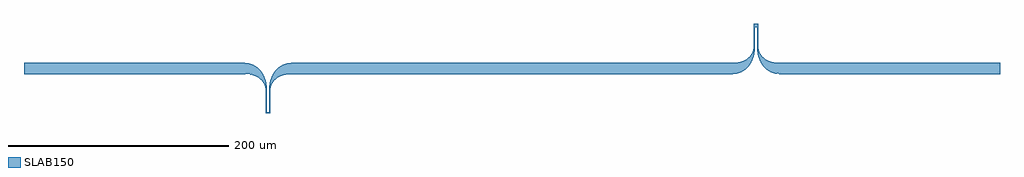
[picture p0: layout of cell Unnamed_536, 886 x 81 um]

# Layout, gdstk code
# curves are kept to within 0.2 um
from math import pi, radians
import gdstk
lib = gdstk.Library(unit=1e-6, precision=1e-09)
def R(c, l, rs):  # rectangles x0, y0, x1, y1
    for r in rs: c.add(gdstk.rectangle(r[:2], r[2:], *l))
def P(c, l, *ps):  # polygons
    for p in ps: c.add(gdstk.Polygon(p, *l))
SLAB150 = (2, 0)

unnamed_541 = lib.new_cell('Unnamed_541')
P(unnamed_541, SLAB150, [(0,-0.5),(0,0.5),(19.5,0.5),(19.5,1.5),(20.5,1.5),(20.5,-0.5)])

unnamed_540 = lib.new_cell('Unnamed_540')
P(unnamed_540, SLAB150, [(19.5,-20),(19.117,-16.823),(18.006,-13.845),(16.277,-11.233),(13.904,-8.953),(11.014,-7.17),(7.794,-5.958),(4.22,-5.251),(0,-5),(0,5),(4.386,4.47),(8.494,2.935),(12.095,0.546),(15.224,-2.714),(17.794,-6.933),(19.548,-11.903),(20.259,-15.837),(20.5,-20)])

unnamed_539 = lib.new_cell('Unnamed_539')
R(unnamed_539, SLAB150, [(0,-5,200,5)])

unnamed_537 = lib.new_cell('Unnamed_537')
unnamed_537.add(gdstk.Reference(unnamed_541, (220,-20), rotation=3*pi/2))
unnamed_537.add(gdstk.Reference(unnamed_540, (200,0)))
unnamed_537.add(gdstk.Reference(unnamed_539, (0,0)))

unnamed_538 = lib.new_cell('Unnamed_538')
unnamed_538.add(gdstk.Reference(unnamed_537, (443,0), rotation=pi, x_reflection=True))
unnamed_538.add(gdstk.Reference(unnamed_537, (0,0)))

rectangle_s2_2_l2_0_cfa_ = lib.new_cell('rectangle_S2_2_L2_0_CFa_c4eaf9ad')
R(rectangle_s2_2_l2_0_cfa_, SLAB150, [(0,0,2,2)])

unnamed_536 = lib.new_cell('Unnamed_536')
unnamed_536.add(gdstk.Reference(unnamed_538, (886,0), rotation=pi))
unnamed_536.add(gdstk.Reference(unnamed_538, (0,0)))
unnamed_536.add(gdstk.Reference(rectangle_s2_2_l2_0_cfa_, (663.5,37.5)))

lib.write_gds('Unnamed_536.gds')
